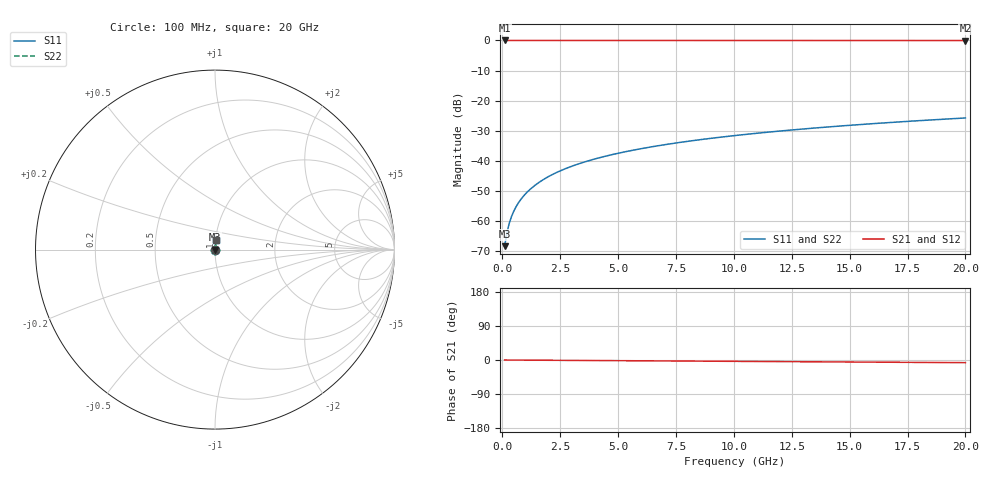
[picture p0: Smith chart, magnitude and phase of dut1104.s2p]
! Touchstone file exported from HFSS 2026.1.0
!  File:  C:/ffzhzh/LocalFiles/Ansys_Project_Files/temp_train_TSV_1104_1783190586_51560.aedt
!  Generated:  02:45:04 AM Jul  5, 2026
!  Design:  TSV
!  Project:  temp_train_TSV_1104_1783190586_51560
! Variables:
!  h_bsmrdl = 2um
!  h_ox = 20um
!  h_rdl = 5um
!  h_sub = 59.71um
!  h_tmrdl = 5um
!  h_tsv = 59.71um
!  h_via = 3um
!  l_bsmrdl = 300um
!  l_sub = 411.46um
!  l_tmrdl = 200um
!  m_sub = 200um
!  pitch = 42.38um
!  r_tsv = 5.73um
!  s_tmrdl = 10um
!  w_bsmrdl = 18um
!  w_sub = 500um
!  w_tmrdl = 12um
!  x_tsv_center1 = 206um
!  x_tsv_center2 = 524um
!  x_tsv_center3 = 736um
!  x_tsv_center4 = 1054um
!  x_tsv_center5 = 1266um
!  x_tsv_center6 = 1584um
# GHz S MA R 50.000000
! Terminal data exported
! Port[1] = TSV1_1_T1
! Port[2] = TSV1_1_T2
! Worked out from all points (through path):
!   200 points, 100 MHz to 20 GHz, reference 50 ohm
!   highest |S21| = 0.00 dB at 100 MHz (marker M1); lowest = 0.0 dB at 20 GHz (marker M2)
!   lowest |S11| = -68.4 dB at 100 MHz (marker M3), VSWR 1.00, Z = 50 + j0.0294 ohm
!   |S11| at or under -10 dB: start of sweep to end of sweep
!   |S22| runs from -68.4 to -25.8 dB; largest |S21 - S12| = 4.3e-15
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0.1  0.0003817 50.3  0.9998 -0.0  0.9998 -0.0  0.0003817 50.3
! Gamma 0 0 0 0
! Port Impedance 50 0 50 0
0.2  0.0006379 66.6  0.9997 -0.1  0.9997 -0.1  0.0006379 66.6
0.3  0.0009133 73.0  0.9997 -0.1  0.9997 -0.1  0.0009133 73.0
0.4  0.001191 76.2  0.9997 -0.1  0.9997 -0.1  0.001191 76.2
0.5  0.001467 78.1  0.9997 -0.2  0.9997 -0.2  0.001467 78.1
0.6  0.001741 79.4  0.9997 -0.2  0.9997 -0.2  0.001741 79.4
0.7  0.002012 80.3  0.9997 -0.3  0.9997 -0.3  0.002012 80.3
0.8  0.002282 81.0  0.9997 -0.3  0.9997 -0.3  0.002282 81.0
1  0.002819 82.1  0.9996 -0.4  0.9996 -0.4  0.002819 82.1
1.4  0.003886 83.4  0.9996 -0.5  0.9996 -0.5  0.003886 83.4
1.7  0.004684 84.0  0.9995 -0.6  0.9995 -0.6  0.004684 84.0
2  0.005481 84.3  0.9995 -0.7  0.9995 -0.7  0.005481 84.3
2.7  0.007335 84.8  0.9994 -1.0  0.9994 -1.0  0.007335 84.8
3.5  0.009439 85.0  0.9993 -1.3  0.9993 -1.3  0.009439 85.0
4.2  0.01127 85.1  0.9993 -1.5  0.9993 -1.5  0.01127 85.1
5  0.01335 85.0  0.9992 -1.8  0.9992 -1.8  0.01335 85.0
6.8  0.01799 84.8  0.999 -2.4  0.999 -2.4  0.01799 84.8
8.3  0.02184 84.5  0.9988 -2.9  0.9988 -2.9  0.02184 84.5
10.1  0.02644 84.1  0.9986 -3.6  0.9986 -3.6  0.02644 84.1
13.4  0.03485 83.3  0.9982 -4.7  0.9982 -4.7  0.03485 83.3
16.7  0.04321 82.3  0.9977 -5.9  0.9977 -5.9  0.04321 82.3
20  0.05152 81.3  0.9972 -7.0  0.9972 -7.0  0.05152 81.3
